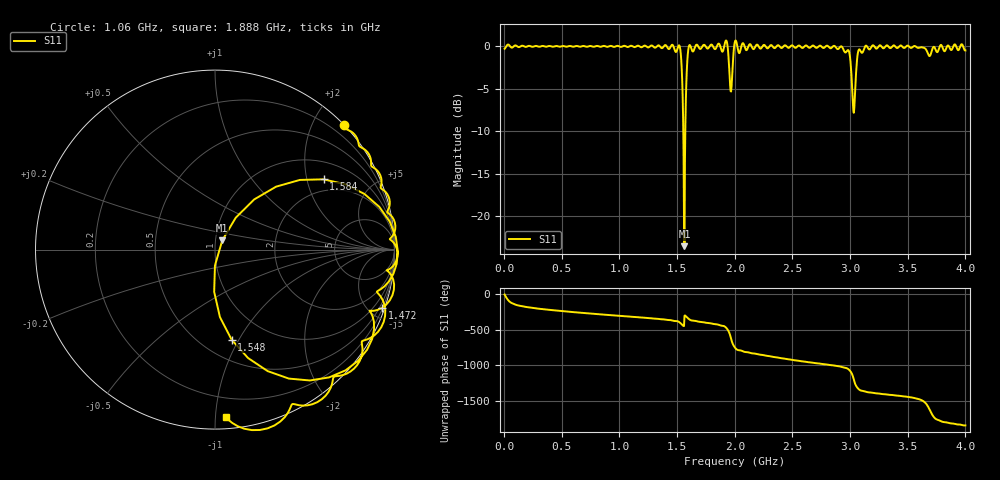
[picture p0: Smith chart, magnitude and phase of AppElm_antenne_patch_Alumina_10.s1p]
! TOUCHSTONE file generated by CST MICROWAVE STUDIO
! Date and time: Thu Jun  9 07:40:03 2022
! Project name: AppElm_antenne_patch_Alumina.cst
! Parameters = {L=30.5; W=50.16; e=0.035; h=1.6; lambda=0.190476; ls=90; w0=1.12; w1=0.373; ws=90; y0=14; y1=10}
! Header version: 2018
! Port assignment regex: !\s*Touchstone port\s*([0-9]+)\s*=\s*(CST MWS port|CST DS port)\s*([0-9]+|Zmin|Zmax)\s*\(\"(.*)\"\)(\s*mode\s*([0-9]+))?.*
! Touchstone port assignment:
! Touchstone port 1 = CST MWS port 1 ("")
# GHz S MA R 50
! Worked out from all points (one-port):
!   1000 points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, 4 MHz to 4 GHz, reference 50 ohm
!   lowest |S11| = -23.6 dB at 1.564 GHz (marker M1), VSWR 1.14, Z = 53.9 + j5.67 ohm
!   |S11| at or under -10 dB: 1.553 GHz to 1.571 GHz (17.61 MHz wide, 1.13 % of centre)
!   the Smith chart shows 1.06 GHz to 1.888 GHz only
!   S11 on the Smith chart (normalised r, x): 1.06 GHz: 0.01, +2.48; 1.472 GHz: 0.27, -5.88; 1.548 GHz: 0.69, -0.93; 1.584 GHz: 1.55, +2.53; 1.888 GHz: 0.07, -1.06
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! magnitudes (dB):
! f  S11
! 4 MHz  -0.3
! 504 MHz  0.0
! 1.004 GHz  0.0
! 1.06 GHz  0.0
! 1.472 GHz  -0.1
! 1.504 GHz  -0.2
! 1.528 GHz  -0.4
! 1.536 GHz  -1.6
! 1.548 GHz  -5.8
! 1.564 GHz  -23.6
! 1.576 GHz  -6.2
! 1.584 GHz  -2.9
! 1.588 GHz  -1.8
! 1.596 GHz  -0.5
! 1.612 GHz  0.1
! 1.888 GHz  -0.6
! 1.928 GHz  0.7
! 1.968 GHz  -5.3
! 2.004 GHz  0.7
! 2.504 GHz  0.1
! 2.924 GHz  0.0
! 2.984 GHz  -0.4
! 3.004 GHz  -1.9
! 3.032 GHz  -7.8
! 3.068 GHz  -0.8
! 3.084 GHz  -0.4
! 3.504 GHz  0.1
! 4 GHz  -0.5
